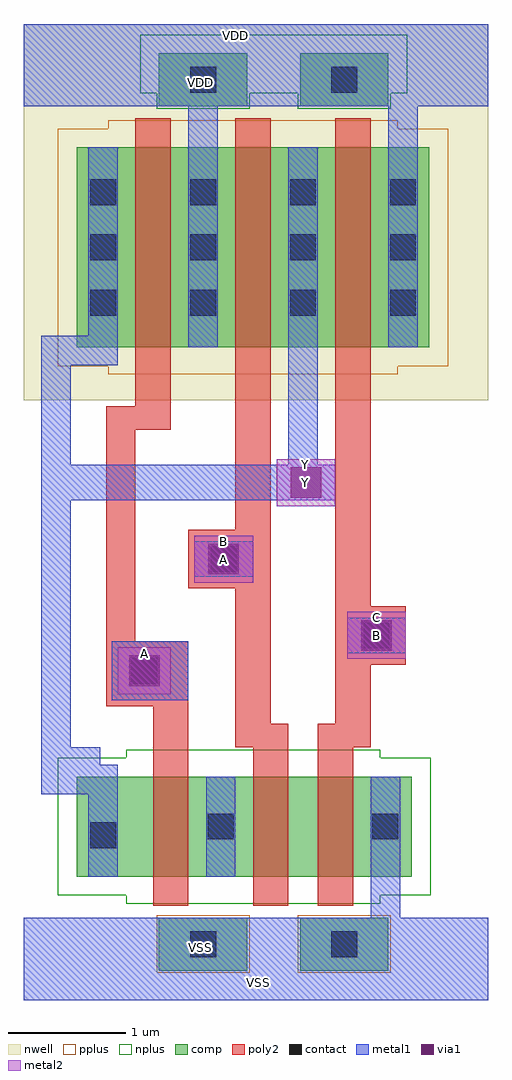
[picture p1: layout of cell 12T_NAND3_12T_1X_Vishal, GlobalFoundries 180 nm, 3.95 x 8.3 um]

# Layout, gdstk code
import gdstk
lib = gdstk.Library(unit=1e-6, precision=1e-09)
def R(c, l, rs):  # rectangles x0, y0, x1, y1
    for r in rs: c.add(gdstk.rectangle(r[:2], r[2:], *l))
def A(c, l, x, y, w, h, nx, ny, dx, dy):  # array of equal rectangles
    R(c, l, [(x+i*dx, y+j*dy, x+i*dx+w, y+j*dy+h) for i in range(nx) for j in range(ny)])
nwell = (21, 0)
comp = (22, 0)
poly2 = (30, 0)
pplus = (31, 0)
nplus = (32, 0)
contact = (33, 0)
metal1 = (34, 0)
via1 = (35, 0)
metal2 = (36, 0)

c_12t_nand3_12t_1x_vishal = lib.new_cell('12T_NAND3_12T_1X_Vishal')
R(c_12t_nand3_12t_1x_vishal, nwell, [(-0.85,5.1,3.1,8.3)])
R(c_12t_nand3_12t_1x_vishal, comp, [(0.3,0.25,1.05,0.7), (1.5,0.25,2.25,0.7), (-0.4,1.05,2.45,1.9), (-0.4,5.55,2.6,7.25), (0.3,7.6,1.05,8.05), (1.5,7.6,2.25,8.05)])
R(c_12t_nand3_12t_1x_vishal, poly2, [(0.25,0.8,0.55,2.5), (1.1,0.8,1.4,2.15), (1.65,0.8,1.95,2.15), (0.95,2.15,1.4,2.35), (1.65,2.15,2.1,2.35), (0.95,2.35,1.25,3.5), (1.8,2.35,2.1,2.85), (-0.15,2.5,0.55,3.05), (1.8,2.85,2.4,3.35), (-0.15,3.05,0.1,4.85), (1.8,3.35,2.1,7.5), (0.55,3.5,1.25,4), (0.95,4,1.25,7.5), (-0.15,4.85,0.4,5.05), (0.1,5.05,0.4,7.5)])
R(c_12t_nand3_12t_1x_vishal, pplus, [(0.28,0.23,1.07,0.72), (1.48,0.23,2.27,0.72), (-0.13,5.32,2.33,5.39), (-0.56,5.39,2.76,7.41), (-0.13,7.41,2.33,7.48)])
R(c_12t_nand3_12t_1x_vishal, nplus, [(0.02,0.82,2.18,0.89), (-0.56,0.89,2.61,2.06), (0.02,2.06,2.18,2.13), (0.28,7.58,1.07,7.71), (1.48,7.58,2.27,7.71), (0.14,7.71,2.41,8.21)])
A(c_12t_nand3_12t_1x_vishal, contact, -0.285, 5.82, 0.22, 0.22, 4, 3, 0.85, 0.47)
R(c_12t_nand3_12t_1x_vishal, contact, [(0.565,0.365,0.785,0.585), (1.765,0.365,1.985,0.585), (-0.285,1.29,-0.065,1.51), (0.715,1.365,0.935,1.585), (2.115,1.365,2.335,1.585), (0.065,2.69,0.285,2.91), (2.04,2.99,2.26,3.21), (0.74,3.64,0.96,3.86), (0.565,7.715,0.785,7.935), (1.765,7.715,1.985,7.935)])
R(c_12t_nand3_12t_1x_vishal, metal1, [(-0.85,0,3.1,0.7), (2.1,0.7,2.35,1.9), (-0.3,1.05,-0.05,1.75), (0.7,1.05,0.95,1.9), (-0.7,1.75,-0.05,2), (-0.7,2,-0.2,2.15), (-0.7,2.15,-0.45,4.25), (-0.1,2.55,0.55,3.05), (1.9,2.95,2.4,3.25), (0.6,3.6,1.1,3.9), (-0.7,4.25,1.8,4.55), (-0.7,4.55,-0.45,5.4), (1.4,4.55,1.65,7.25), (-0.7,5.4,-0.05,5.65), (0.55,5.55,0.8,7.6), (2.25,5.55,2.5,7.6), (-0.3,5.65,-0.05,7.25), (-0.85,7.6,3.1,8.3)])
R(c_12t_nand3_12t_1x_vishal, via1, [(0.045,2.67,0.305,2.93), (2.02,2.97,2.28,3.23), (0.72,3.62,0.98,3.88), (1.42,4.27,1.68,4.53)])
R(c_12t_nand3_12t_1x_vishal, metal2, [(-0.05,2.6,0.4,3), (1.9,2.9,2.4,3.3), (0.6,3.55,1.1,3.95), (1.3,4.2,1.8,4.6)])
c_12t_nand3_12t_1x_vishal.add(gdstk.Label('A', (0.175,2.95), layer=36, texttype=0))
c_12t_nand3_12t_1x_vishal.add(gdstk.Label('B', (0.85,3.9), layer=36, texttype=0))
c_12t_nand3_12t_1x_vishal.add(gdstk.Label('C', (2.15,3.25), layer=36, texttype=0))
c_12t_nand3_12t_1x_vishal.add(gdstk.Label('Y', (1.55,4.55), layer=36, texttype=0))
c_12t_nand3_12t_1x_vishal.add(gdstk.Label('VDD', (0.95,8.2), layer=34, texttype=0))
c_12t_nand3_12t_1x_vishal.add(gdstk.Label('VSS', (1.15,0.15), layer=34, texttype=0))
c_12t_nand3_12t_1x_vishal.add(gdstk.Label('A', (0.85,3.75), layer=36, texttype=10))
c_12t_nand3_12t_1x_vishal.add(gdstk.Label('B', (2.15,3.1), layer=36, texttype=10))
c_12t_nand3_12t_1x_vishal.add(gdstk.Label('Y', (1.55,4.4), layer=34, texttype=10))
c_12t_nand3_12t_1x_vishal.add(gdstk.Label('VDD', (0.65,7.8), layer=22, texttype=0))
c_12t_nand3_12t_1x_vishal.add(gdstk.Label('VSS', (0.65,0.45), layer=22, texttype=0))

lib.write_gds('12T_NAND3_12T_1X_Vishal.gds')
